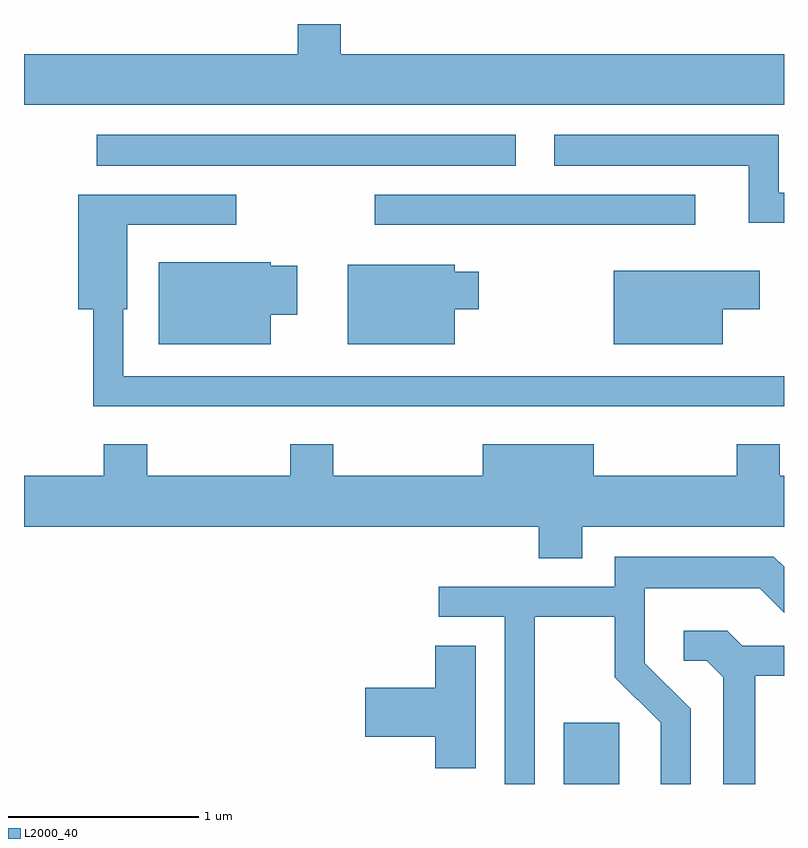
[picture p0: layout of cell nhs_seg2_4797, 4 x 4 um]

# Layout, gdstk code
import gdstk
lib = gdstk.Library(unit=1e-6, precision=1e-09)
def R(c, l, rs):  # rectangles x0, y0, x1, y1
    for r in rs: c.add(gdstk.rectangle(r[:2], r[2:], *l))
def P(c, l, *ps):  # polygons
    for p in ps: c.add(gdstk.Polygon(p, *l))
L2000_40 = (2000, 40)

nhs_seg2_4797 = lib.new_cell('nhs_seg2_4797')
R(nhs_seg2_4797, L2000_40, [(328.451,1095.802,328.744,1096.124), (327.458,1098.746,329.143,1098.904), (325.993,1099.056,328.198,1099.219)])
P(nhs_seg2_4797, L2000_40, [(329.611,1099.644),(327.279,1099.644),(327.279,1099.802),(327.051,1099.802),(327.051,1099.644),(325.611,1099.644),(325.611,1099.376),(329.611,1099.376)],
  [(329.611,1098.914),(329.584,1098.914),(329.584,1099.219),(328.403,1099.219),(328.403,1099.056),(329.426,1099.056),(329.426,1098.756),(329.611,1098.756)],
  [(329.611,1097.949),(326.134,1097.949),(326.134,1098.301),(326.154,1098.301),(326.154,1098.746),(326.728,1098.746),(326.728,1098.904),(325.896,1098.904),(325.896,1098.301),(325.976,1098.301),(325.976,1097.791),(329.611,1097.791)],
  [(326.909,1098.271),(327.049,1098.271),(327.049,1098.529),(326.909,1098.529),(326.909,1098.549),(326.321,1098.549),(326.321,1098.116),(326.909,1098.116)],
  [(327.879,1098.301),(328.004,1098.301),(328.004,1098.499),(327.879,1098.499),(327.879,1098.534),(327.316,1098.534),(327.316,1098.116),(327.879,1098.116)],
  [(329.289,1098.301),(329.484,1098.301),(329.484,1098.504),(328.716,1098.504),(328.716,1098.116),(329.289,1098.116)],
  [(328.549,1097.156),(329.611,1097.156),(329.611,1097.424),(329.589,1097.424),(329.589,1097.589),(329.361,1097.589),(329.361,1097.424),(328.609,1097.424),(328.609,1097.589),(328.026,1097.589),(328.026,1097.424),(327.239,1097.424),(327.239,1097.589),(327.011,1097.589),(327.011,1097.424),(326.259,1097.424),(326.259,1097.589),(326.031,1097.589),(326.031,1097.424),(325.611,1097.424),(325.611,1097.156),(328.321,1097.156),(328.321,1096.991),(328.549,1096.991)],
  [(328.299,1096.681),(328.721,1096.681),(328.721,1096.364),(328.961,1096.124),(328.961,1095.802),(329.119,1095.802),(329.119,1096.197),(328.879,1096.437),(328.879,1096.831),(329.484,1096.831),(329.611,1096.704),(329.611,1096.945),(329.557,1096.999),(328.721,1096.999),(328.721,1096.839),(327.793,1096.839),(327.793,1096.681),(328.141,1096.681),(328.141,1095.802),(328.299,1095.802)],
  [(329.459,1096.371),(329.611,1096.371),(329.611,1096.529),(329.392,1096.529),(329.312,1096.609),(329.083,1096.609),(329.083,1096.451),(329.204,1096.451),(329.291,1096.364),(329.291,1095.802),(329.459,1095.802)],
  [(327.989,1096.529),(327.776,1096.529),(327.776,1096.309),(327.406,1096.309),(327.406,1096.051),(327.776,1096.051),(327.776,1095.886),(327.989,1095.886)])

lib.write_gds('nhs_seg2_4797.gds')
